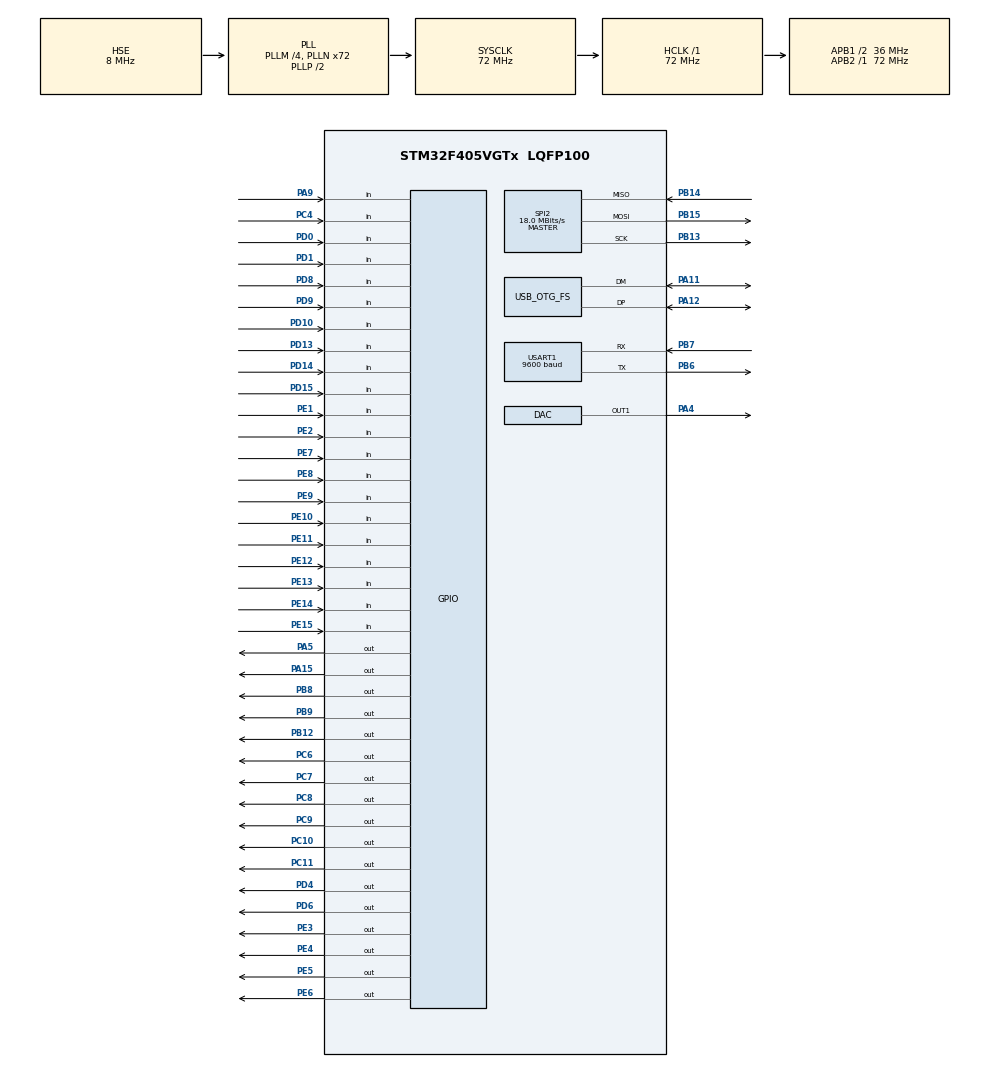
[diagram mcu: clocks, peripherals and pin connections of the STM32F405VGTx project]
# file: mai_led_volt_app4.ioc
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Mcu.Family=STM32F4
Mcu.Name=STM32F405VGTx
Mcu.Package=LQFP100
NVIC.OTG_FS_IRQn=true\:0\:0\:false\:false\:true\:true\:true\:true
NVIC.PriorityGroup=NVIC_PRIORITYGROUP_4
NVIC.TIM3_IRQn=true\:0\:0\:false\:false\:true\:true\:true\:true
NVIC.USART1_IRQn=true\:0\:0\:false\:false\:true\:true\:true\:true
PA11.Mode=Device_Only
PA11.Signal=USB_OTG_FS_DM
PA12.Mode=Device_Only
PA12.Signal=USB_OTG_FS_DP
PA15.Signal=GPIO_Output
PA4.Signal=COMP_DAC1_group
PA5.Signal=GPIO_Output
PA9.Signal=GPIO_Input
PB12.Signal=GPIO_Output
PB13.Mode=Full_Duplex_Master
PB13.Signal=SPI2_SCK
PB14.Mode=Full_Duplex_Master
PB14.Signal=SPI2_MISO
PB15.Mode=Full_Duplex_Master
PB15.Signal=SPI2_MOSI
PB6.Mode=Asynchronous
PB6.Signal=USART1_TX
PB7.Mode=Asynchronous
PB7.Signal=USART1_RX
PB8.Signal=GPIO_Output
PB9.Signal=GPIO_Output
PC10.Signal=GPIO_Output
PC11.Signal=GPIO_Output
PC4.Signal=GPIO_Input
PC6.Signal=GPIO_Output
PC7.Signal=GPIO_Output
PC8.Signal=GPIO_Output
PC9.Signal=GPIO_Output
PD0.Signal=GPIO_Input
PD1.Signal=GPIO_Input
PD10.Signal=GPIO_Input
PD11.Signal=FSMC_CLE
PD12.Signal=FSMC_ALE
PD13.Signal=GPIO_Input
PD14.Signal=GPIO_Input
PD15.Signal=GPIO_Input
PD4.Signal=GPIO_Output
PD6.Signal=GPIO_Output
PD8.Signal=GPIO_Input
PD9.Signal=GPIO_Input
PE1.Signal=GPIO_Input
PE10.Signal=GPIO_Input
PE11.Signal=GPIO_Input
PE12.Signal=GPIO_Input
PE13.Signal=GPIO_Input
PE14.Signal=GPIO_Input
PE15.Signal=GPIO_Input
PE2.Signal=GPIO_Input
PE3.Signal=GPIO_Output
PE4.Signal=GPIO_Output
PE5.Signal=GPIO_Output
PE6.Signal=GPIO_Output
PE7.Signal=GPIO_Input
PE8.Signal=GPIO_Input
PE9.Signal=GPIO_Input
PH0-OSC_IN.Mode=HSE-External-Oscillator
PH0-OSC_IN.Signal=RCC_OSC_IN
PH1-OSC_OUT.Mode=HSE-External-Oscillator
PH1-OSC_OUT.Signal=RCC_OSC_OUT
ProjectManager.HeapSize=0x200
ProjectManager.StackSize=0x400
ProjectManager.TargetToolchain=STM32CubeIDE
RCC.48MHZClocksFreq_Value=48000000
RCC.AHBFreq_Value=72000000
RCC.APB1CLKDivider=RCC_HCLK_DIV2
RCC.APB1Freq_Value=36000000
RCC.APB1TimFreq_Value=72000000
RCC.APB2Freq_Value=72000000
RCC.APB2TimFreq_Value=72000000
RCC.CortexFreq_Value=72000000
RCC.HCLKFreq_Value=72000000
RCC.HSE_VALUE=8000000
RCC.HSI_VALUE=16000000
RCC.LSE_VALUE=32768
RCC.PLLM=4
RCC.PLLN=72
RCC.PLLQ=3
RCC.SYSCLKFreq_VALUE=72000000
RCC.SYSCLKSource=RCC_SYSCLKSOURCE_PLLCLK
RCC.VCOOutputFreq_Value=144000000
SH.COMP_DAC1_group.0=DAC_OUT1,DAC_OUT1
SPI2.BaudRatePrescaler=SPI_BAUDRATEPRESCALER_2
SPI2.CalculateBaudRate=18.0 MBits/s
SPI2.Direction=SPI_DIRECTION_2LINES
SPI2.Mode=SPI_MODE_MASTER
SPI2.VirtualType=VM_MASTER
STMicroelectronics.X-CUBE-ALGOBUILD.1.4.0.LibraryCcDSPOoLibraryJjDSPOoLibrary=true
TIM3.AutoReloadPreload=TIM_AUTORELOAD_PRELOAD_ENABLE
TIM3.Prescaler=167
USART1.BaudRate=9600
USART1.VirtualMode=VM_ASYNC
USB_DEVICE.CLASS_NAME_FS=CDC
USB_DEVICE.VirtualMode-CDC_FS=Cdc
USB_DEVICE.VirtualModeFS=Cdc_FS
USB_OTG_FS.VirtualMode=Device_Only
VP_STMicroelectronics.X-CUBE-ALGOBUILD_VS_DSPOoLibraryJjLibrary_1.4.0_1.4.0.Mode=DSPOoLibraryJjLibrary
VP_TIM3_VS_ClockSourceINT.Mode=Internal
VP_USB_DEVICE_VS_USB_DEVICE_CDC_FS.Mode=CDC_FS
board=custom

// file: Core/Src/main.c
/* USER CODE BEGIN Header */
/**
  */
/* USER CODE END Header */
#include "main.h"
#include "usb_device.h"

/* USER CODE BEGIN Includes */
#include <string.h>
#include <stdio.h>
#include <stdbool.h>
#include "usbd_cdc_if.h"
#include "arm_math.h"
#include <stdlib.h>
#include "sx126x.h"
#include "sx126x_hal.h"
#include "thickness_calculator.h"
#include "temperature_sensor.h"
#include "stm32f4xx_hal.h"
#include <pin_fsmc5.h>  // Файл с конфигурацией ПЛИС (массив uint8_t fpga_config[])
/* USER CODE END Includes */

/* USER CODE BEGIN PD */
#define START_PULSE_DURATION_NS 200   // Длительность стартового импульса в наносекундах
#define USB_RX_BUFFER_SIZE 1100
#define UART_RX_TIMEOUT_MS 100

// LoRa module pins
#define sx1262_busy_pin GPIO_PIN_4
#define sx1262_busy_port GPIOC
#define sx1262_dio1_pin GPIO_PIN_2
#define sx1262_dio1_port GPIOE
#define sx1262_dio2_pin GPIO_PIN_1
#define sx1262_dio2_port GPIOE
#define sx1262_cs_pin GPIO_PIN_12
#define sx1262_cs_port GPIOB
#define sx1262_txen_pin GPIO_PIN_6
#define sx1262_txen_port GPIOC
#define sx1262_reset_pin GPIO_PIN_7
#define sx1262_reset_port GPIOC
#define USB_CONNECTED() HAL_GPIO_ReadPin(GPIOA, GPIO_PIN_9)

// Добавить новые определения
#define ACK_STRING           "ACK\r\n"
#define COMPLETE_STRING      "COMPLETE\r\n"

#define VALUES_PER_LINE 10            // Количество значений в строке вывода
/* USER CODE END PD */

DAC_HandleTypeDef hdac;

SPI_HandleTypeDef hspi2;

TIM_HandleTypeDef htim3;

UART_HandleTypeDef huart1;

/* USER CODE BEGIN PV */
char usb_msg[1024];                   // Буфер для USB сообщений

// Добавляем объявления переменных из usbd_cdc_if.c
extern volatile uint8_t usb_rx_buffer[USB_RX_BUFFER_SIZE];
extern volatile uint8_t new_data_received;
extern volatile uint16_t usb_rx_index;

// Временные переменные (НЕ сохраняются во Flash)
char start_date[20] = {0}; // Формат: "2024-01-15 14:30:25"
uint32_t period = 0;
float old_gain[4] = {0}; // Теперь для каждого набора параметров

// UART переменные
#define UART_TX_BUF_SIZE 128
char uart_tx_buf[UART_TX_BUF_SIZE];

#define UART_RX_BUF_SIZE 128
char uart_rx_buf[UART_RX_BUF_SIZE];
uint8_t uart_rx_pos = 0;
volatile uint8_t uart_cmd_ready = 0;
uint32_t uart_last_rx_time = 0;

volatile uint8_t uart_rx_data[UART_RX_BUF_SIZE];
volatile uint8_t uart_rx_len = 0;
volatile uint8_t uart_message_received = 0;

// LoRa variables
sx126x_context radio;
sx126x_mod_params_lora_t lora_params;
sx126x_pkt_params_lora_t pkt_params;
sx126x_pa_cfg_params_t pa_params;
int8_t pa_power = 10;
uint32_t frequency = 868000000U;
bool lora_initialized = false;
uint32_t lora_last_send_time = 0;  // Добавьте эту переменную
// Переменные для данных от дежурного МК
float received_voltage = 0.0f;
float received_temp = 0.0f;

float dac_voltage = 0.0f;
uint32_t dac_last_update = 0;
typedef struct {
    bool data_ready;                  // Флаг готовности данных
    uint8_t data_count;               // Количество считанных данных
} FPGA_Data;

FPGA_Data fpga_data;                 // Структура для хранения данных ПЛИС

//uint16_t temp_fpga_buffer[DATA_SIZE];     // Временный буфер для чтения
//float averaged_fpga_data[DATA_SIZE];   // Итоговый усредненный массив
bool averaging_complete = false;          // Флаг завершения усреднения

uint16_t* temp_fpga_buffer = NULL; // Временный буфер для чтения
float32_t* averaged_fpga_data = NULL; // Итоговый усредненный массив
uint32_t DATA_SIZE = 0;

// Переменные для хранения результатов расчета толщины для каждого набора
float thickness_values[4] = {0};

bool active_channels[4] = {false}; // Флаги активных каналов
/* USER CODE END PV */

void SystemClock_Config(void);
static void MX_GPIO_Init(void);
static void MX_USART1_UART_Init(void);
static void MX_DAC_Init(void);
static void MX_TIM3_Init(void);
static void MX_SPI2_Init(void);
/* USER CODE BEGIN PFP */
void SendUSBDebugMessage(const char *message);
void GenerateStartPulse(void);
void ProcessUSBCommand(uint8_t cmd);
void ParseParameters(const char* params_str);
void SendParametersResponse(void);
void SendDateTimeToBackupMCU(void);
void ProcessUARTCommand(uint8_t* data, uint8_t len);
bool InitializeLoRa(void);
void SendTestDataViaLoRa(void);
// Добавить прототип
void SendUARTResponse(const char* response);
void ReadFPGAData(int param_index);
void PrintDataToUSB(int param_index);
void SendMeasurementDataViaLoRa(int param_index);
/* USER CODE END PFP */

/* USER CODE BEGIN 0 */

/**
  * @brief Отправка отладочного сообщения через USB
  * @param message Текст сообщения
  */
void SendUSBDebugMessage(const char *message) {
    if (USB_CONNECTED()) {
        snprintf(usb_msg, sizeof(usb_msg), "[%lu] %s\r\n", HAL_GetTick(), message);
        CDC_Transmit_FS((uint8_t*)usb_msg, strlen(usb_msg));
        HAL_Delay(10); // Задержка для стабильной работы USB
    }
}

/**
  * @brief Генерация стартового импульса для ПЛИС
  * @note Импульс длительностью 200 нс на пине PD6
  */
void GenerateStartPulse(void) {
    // Устанавливаем высокий уровень на PD6
    HAL_GPIO_WritePin(GPIOD, GPIO_PIN_6, GPIO_PIN_SET);

    // Задержка для формирования импульса 200 нс
    for(volatile int i = 0; i < 34; i++);

    // Устанавливаем низкий уровень на PD6
    HAL_GPIO_WritePin(GPIOD, GPIO_PIN_6, GPIO_PIN_RESET);

}

/**
  * @brief Обработка команд от USB - не использовать!
  * @param cmd Полученная команда
  */
void ProcessUSBCommand(uint8_t cmd) {
    switch(cmd) {
        case '1':
            // Команда 1
              // SendUSBDebugMessage("Unknown command received 1");
            break;

        default:
            // Неизвестная команда
          //  SendUSBDebugMessage("Unknown command received");
            break;
    }
}

/**
  * @brief Парсинг AL секции (start_date и period)
  */
void ParseALSection(char* al_str) {
    char* token = strtok(al_str, "|");
    while (token != NULL) {
        char* equals_sign = strchr(token, '=');
        if (equals_sign != NULL) {
            *equals_sign = '\0';
            char* param_name = token;
            char* param_value = equals_sign + 1;

            if (strcmp(param_name, "start_date") == 0) {
                strncpy(start_date, param_value, sizeof(start_date) - 1);
                start_date[sizeof(start_date) - 1] = '\0';
            } else if (strcmp(param_name, "period") == 0) {
                period = atoi(param_value);
            }
        }
        token = strtok(NULL, "|");
    }
}

/**
  * @brief Парсинг PR секции для конкретного набора параметров
  */
void ParsePRSection(char* pr_str, int pr_index) {
    char* token = strtok(pr_str, "|");
    while (token != NULL) {
        char* equals_sign = strchr(token, '=');
        if (equals_sign != NULL) {
            *equals_sign = '\0';
            char* param_name = token;
            char* param_value = equals_sign + 1;

            // Парсим параметры для текущего набора
            if (strcmp(param_name, "wave_speed") == 0) {
                params[pr_index].wave_speed = atof(param_value);
            } else if (strcmp(param_name, "threshold") == 0) {
                params[pr_index].threshold = atof(param_value);
            } else if (strcmp(param_name, "threshold_zero_crossing") == 0) {
                params[pr_index].threshold_zero_crossing = atof(param_value);
            } else if (strcmp(param_name, "start_index") == 0) {
                params[pr_index].start_index = atoi(param_value);
            } else if (strcmp(param_name, "probe_length") == 0) {
                params[pr_index].probe_length = atoi(param_value);
            } else if (strcmp(param_name, "strobe_left1") == 0) {
                params[pr_index].first_left_strobe = atoi(param_value);
            } else if (strcmp(param_name, "strobe_right1") == 0) {
                params[pr_index].first_right_strobe = atoi(param_value);
            } else if (strcmp(param_name, "strobe_left2") == 0) {
                params[pr_index].second_left_strobe = atoi(param_value);
            } else if (strcmp(param_name, "strobe_right2") == 0) {
                params[pr_index].second_right_strobe = atoi(param_value);
            } else if (strcmp(param_name, "method") == 0) {
                params[pr_index].method = atoi(param_value);
            } else if (strcmp(param_name, "end_index") == 0) {
                params[pr_index].end_index = atoi(param_value);
            } else if (strcmp(param_name, "cycle_number") == 0) {
                params[pr_index].cycle_number = atoi(param_value);
            } else if (strcmp(param_name, "sensor_number") == 0) {
                strncpy(params[pr_index].sensor_number, param_value,
                       sizeof(params[pr_index].sensor_number) - 1);
                params[pr_index].sensor_number[sizeof(params[pr_index].sensor_number) - 1] = '\0';
            } else if (strcmp(param_name, "gain") == 0) {
                params[pr_index].gain = atof(param_value);
            } else if (strcmp(param_name, "points_count") == 0) {
                params[pr_index].points_count = atoi(param_value);
            }
        }
        token = strtok(NULL, "|");
    }
}

/**
  * @brief Парсинг параметров из строки с определением активных каналов
  * @param params_str Строка с параметрами
  */
void ParseParameters(const char* params_str) {
    char buffer[USB_RX_BUFFER_SIZE];
    strncpy(buffer, params_str, sizeof(buffer) - 1);
    buffer[sizeof(buffer) - 1] = '\0';

    // Сбрасываем флаги активных каналов
    for (int i = 0; i < 4; i++) {
        active_channels[i] = false;
    }

    // Загружаем текущие параметры (если еще не инициализированы)
    for (int i = 0; i < 4; i++) {
        if (!parameters_initialized[i]) {
            LoadParametersFromFlash();
            break;
        }
    }

    // Сохраняем старый gain ДО парсинга для всех наборов
//    for (int i = 0; i < 4; i++) {
//        old_gain[i] = params[i].gain;
//    }

    // Разбиваем всю строку на секции по '/'
    char* sections[20]; // Максимум 20 секций
    int section_count = 0;

    char* token = strtok(buffer, "/");
    while (token != NULL && section_count < 20) {
        sections[section_count++] = token;
        token = strtok(NULL, "/");
    }

    // Обрабатываем каждую секцию
    for (int i = 0; i < section_count; i++) {
        if (strncmp(sections[i], "AL=", 3) == 0) {
            // Обрабатываем AL= секцию
            ParseALSection(sections[i] + 3); // +3 чтобы пропустить "AL="
        }
        else if (strncmp(sections[i], "PR1=", 4) == 0) {
            // Обрабатываем PR1= секцию
            ParsePRSection(sections[i] + 4, 0); // +4 чтобы пропустить "PR1=", индекс 0
            active_channels[0] = true; // Помечаем канал как активный
        }
        else if (strncmp(sections[i], "PR2=", 4) == 0) {
            // Обрабатываем PR2= секцию
            ParsePRSection(sections[i] + 4, 1); // +4 чтобы пропустить "PR2=", индекс 1
            active_channels[1] = true; // Помечаем канал как активный
        }
        else if (strncmp(sections[i], "PR3=", 4) == 0) {
            // Обрабатываем PR3= секцию
            ParsePRSection(sections[i] + 4, 2); // +4 чтобы пропустить "PR3=", индекс 2
            active_channels[2] = true; // Помечаем канал как активный
        }
        else if (strncmp(sections[i], "PR4=", 4) == 0) {
            // Обрабатываем PR4= секцию
            ParsePRSection(sections[i] + 4, 3); // +4 чтобы пропустить "PR4=", индекс 3
            active_channels[3] = true; // Помечаем канал как активный
        }
    }

    // Сохраняем обновленные параметры в Flash (без start_date и period)
    SaveParametersToFlash();
    HAL_Delay(1000);
    // ОТПРАВЛЯЕМ ДАННЫЕ НА ДЕЖУРНЫЙ МК ПО UART
    SendDateTimeToBackupMCU();

    // Устанавливаем флаг для запуска расчета
    calculate_thickness_requested = true;
}

/**
  * @brief Отправка текущих параметров обратно в приложение
  */
/**
  * @brief Отправка текущих параметров обратно в приложение
  */
void SendParametersResponse(void) {
    // Отправляем параметры только для активных каналов
    for (int i = 0; i < 4; i++) {
        if (!active_channels[i] || !parameters_initialized[i]) {
            continue;
        }

        uint8_t usb_status = USB_CONNECTED();
        snprintf(usb_msg, sizeof(usb_msg),
            "PR%d:method=%lu|wave_speed=%.1f|threshold=%.1f|threshold_zero_crossing=%.1f|"
            "start_index=%lu|probe_length=%lu|strobe_left1=%lu|strobe_right1=%lu|"
            "strobe_left2=%lu|strobe_right2=%lu|end_index=%lu|cycle_number=%lu|"
            "sensor_number=%s|gain=%.1f|points_count=%lu|start_date=%s|period=%lu;USB:%u\r\n",
            i+1, params[i].method, params[i].wave_speed, params[i].threshold, params[i].threshold_zero_crossing,
            params[i].start_index, params[i].probe_length, params[i].first_left_strobe, params[i].first_right_strobe,
            params[i].second_left_strobe, params[i].second_right_strobe, params[i].end_index, params[i].cycle_number,
            params[i].sensor_number, params[i].gain, params[i].points_count, start_date, period, usb_status);

        CDC_Transmit_FS((uint8_t*)usb_msg, strlen(usb_msg));
        HAL_Delay(10);
    }
}
/**
  * @brief Отправка даты/времени и периода на дежурный МК по UART
  */
// Функция отправки данных
void SendDateTimeToBackupMCU(void) {
    // Проверяем что данные не пустые
    if (strlen(start_date) > 0 && period > 0) {
        // Получаем статус USB подключения
        uint8_t usb_status = USB_CONNECTED();

        // Формируем сообщение в формате: "DATE:YYYY-MM-DD;TIME:HH:MM:SS;PERIOD:XXXXX;USB:X"
        snprintf(uart_tx_buf, UART_TX_BUF_SIZE,
                 "DATE:%.10s;TIME:%.8s;PERIOD:%lu;USB:%u\r\n",
                 start_date, start_date + 11, period, usb_status);

        // Отправляем по UART
        HAL_UART_Transmit(&huart1, (uint8_t*)uart_tx_buf, strlen(uart_tx_buf), 100);

        // Отладочное сообщение по USB
        snprintf(usb_msg, sizeof(usb_msg), "Sent to backup MCU: %s", uart_tx_buf);
       // SendUSBDebugMessage(usb_msg);
    } else {
       // SendUSBDebugMessage("No date/time data to send to backup MCU");
    }
}

/**
  * @brief Обработка команды от дежурного МК через UART
  * @param data Данные для обработки
  * @param len Длина данных
  */
void ProcessUARTCommand(uint8_t* data, uint8_t len) {
//    HAL_Delay(150);
//
//    // Загружаем конфигурацию ПЛИС
//    FPGA_LoadConfig();
//
//    // Уменьшаем дополнительную паузу
//    HAL_Delay(10);

    // Поиск всех параметров в данных
        char* date_ptr = strstr((char*)data, "DATE:");
        char* time_ptr = strstr((char*)data, ";TIME:");
        char* period_ptr = strstr((char*)data, ";PERIOD:");
        char* voltage_ptr = strstr((char*)data, ";VOLTAGE:");
        char* temp_ptr = strstr((char*)data, ";TEMP:");

        // Инициализация значений по умолчанию
        int year = 0, month = 0, day = 0, hour = 0, min = 0, sec = 0;
        uint32_t received_period = 0;
        received_voltage = 0.0f;
        received_temp = 0.0f;

        // Парсинг доступных параметров
        if(date_ptr) sscanf(date_ptr, "DATE:%d-%d-%d", &year, &month, &day);
        if(time_ptr) sscanf(time_ptr, ";TIME:%d:%d:%d", &hour, &min, &sec);
        if(period_ptr) sscanf(period_ptr, ";PERIOD:%lu", &received_period);
        if(voltage_ptr) sscanf(voltage_ptr, ";VOLTAGE:%f", &received_voltage);
        if(temp_ptr) sscanf(temp_ptr, ";TEMP:%f", &received_temp);

        // Формируем строку даты
        snprintf(start_date, sizeof(start_date), "%04d-%02d-%02d %02d:%02d:%02d",
                year, month, day, hour, min, sec);
        period = received_period;

        // ИЗМЕРЯЕМ ТЕМПЕРАТУРУ ТЕРМОПАРЫ
        thermocouple_temperature = Get_Thermocouple_Temperature();

        // ОТПРАВЛЯЕМ РАСШИРЕННЫЕ ДАННЫЕ ПО USB ДЛЯ ВСЕХ НАБОРОВ

        // ВЫПОЛНЯЕМ ОПЕРАЦИИ ТОЛЬКО ДЛЯ АКТИВНЫХ КАНАЛОВ
        for (int i = 0; i < 4; i++) {
            // Пропускаем канал если он не активен ИЛИ параметры не инициализированы
            if (!active_channels[i] || !parameters_initialized[i]) {
                continue;
            }

//            // Остальной код обработки для активного канала остается без изменений
            switch(i) {
                case 0: HAL_GPIO_WritePin(GPIOE, GPIO_PIN_5, GPIO_PIN_SET); break;
                case 1: HAL_GPIO_WritePin(GPIOE, GPIO_PIN_6, GPIO_PIN_SET); break;
                case 2: HAL_GPIO_WritePin(GPIOE, GPIO_PIN_3, GPIO_PIN_SET); break;
                case 3: HAL_GPIO_WritePin(GPIOE, GPIO_PIN_4, GPIO_PIN_SET); break;
            }

        // Устанавливаем DAC напряжение для текущего набора параметров
           Set_DAC_Voltage((uint32_t)params[i].gain);
            //Set_DAC_Voltage(1212);
        // Читаем данные ПЛИС с текущими параметрами

        ReadFPGAData(i);

        if (fpga_data.data_ready) {
            // СРАЗУ ВЫЧИСЛЯЕМ ТОЛЩИНУ ПО УСРЕДНЕННОМУ МАССИВУ
            if (parameters_initialized[i] && averaging_complete) {
                calculate_thickness_requested = true;

                uint32_t start_time = HAL_GetTick();
                while (calculate_thickness_requested && (HAL_GetTick() - start_time) < 10000) {
                    if (calculate_thickness_requested) {
                        calculate_thickness_requested = false;
                        ProcessDataByMethod(i); // Используем текущий набор параметров
                        thickness_values[i] = thickness_value; // Сохраняем результат
                    }
                    HAL_Delay(10);
                }
              }
          //PrintDataToUSB(i);

            free(temp_fpga_buffer);
            free(averaged_fpga_data);

            memset(&fpga_data, 0, sizeof(fpga_data));

            // Сброс флагов
            fpga_data.data_ready = false;
            averaging_complete = false;

        }

        if(thermocouple_error) {
            snprintf(usb_msg, sizeof(usb_msg),
                    "SET%d:%s|%lu|%.4f|%.2f|ERROR|%.3f|%.1f|%.1f|%.1f|%lu|%lu|%lu|%lu|%lu|%lu|%lu|%lu|%s|%.1f|%s|%lu\r\n",
                    i+1, start_date, period, received_voltage, received_temp, thickness_values[i],
                    params[i].wave_speed, params[i].threshold, params[i].threshold_zero_crossing,
                    params[i].start_index, params[i].probe_length, params[i].first_left_strobe,
                    params[i].first_right_strobe, params[i].second_left_strobe, params[i].second_right_strobe,
                    params[i].method, params[i].end_index, params[i].cycle_number, params[i].sensor_number,
                    params[i].gain, start_date, period);
        } else {
            snprintf(usb_msg, sizeof(usb_msg),
                    "SET%d:%s|%lu|%.4f|%.2f|%.2f|%.3f|%.1f|%.1f|%.1f|%lu|%lu|%lu|%lu|%lu|%lu|%lu|%lu|%s|%.1f|%s|%lu\r\n",
                    i+1, start_date, period, received_voltage, received_temp, thermocouple_temperature,
                    thickness_values[i], params[i].wave_speed, params[i].threshold, params[i].threshold_zero_crossing,
                    params[i].start_index, params[i].probe_length, params[i].first_left_strobe,
                    params[i].first_right_strobe, params[i].second_left_strobe, params[i].second_right_strobe,
                    params[i].method, params[i].end_index, params[i].cycle_number, params[i].sensor_number,
                    params[i].gain, start_date, period);
        }

        CDC_Transmit_FS((uint8_t*)usb_msg, strlen(usb_msg));
        HAL_Delay(10);

        // Выключение пина перед отправкой по LoRa
        switch(i) {
            case 0: HAL_GPIO_WritePin(GPIOE, GPIO_PIN_5, GPIO_PIN_RESET); break;
            case 1: HAL_GPIO_WritePin(GPIOE, GPIO_PIN_6, GPIO_PIN_RESET); break;
            case 2: HAL_GPIO_WritePin(GPIOE, GPIO_PIN_3, GPIO_PIN_RESET); break;
            case 3: HAL_GPIO_WritePin(GPIOE, GPIO_PIN_4, GPIO_PIN_RESET); break;
        }

        HAL_Delay(100);
        SendMeasurementDataViaLoRa(i);
        HAL_Delay(2000);
        SendTestDataViaLoRa();

    }

    // После завершения всех операций отправляем COMPLETE
    SendUARTResponse(COMPLETE_STRING);
}

/**
  * @brief Отправка данных измерений через LoRa для конкретного набора параметров
  */
bool InitializeLoRa(void) {
    // Initialize radio context
    radio.cs_port = sx1262_cs_port;
    radio.cs_pin = sx1262_cs_pin;
    radio.busy_port = sx1262_busy_port;
    radio.busy_pin = sx1262_busy_pin;
    radio.reset_port = sx1262_reset_port;
    radio.reset_pin = sx1262_reset_pin;
    radio.hspi = &hspi2;

    lora_params.sf = SX126X_LORA_SF10;
    lora_params.bw = SX126X_LORA_BW_125;
    lora_params.cr = SX126X_LORA_CR_4_7;
    lora_params.ldro = 0x00;

    pkt_params.preamble_len_in_symb = 12;
    pkt_params.header_type = SX126X_LORA_PKT_EXPLICIT;
    pkt_params.pld_len_in_bytes = 128;
    pkt_params.crc_is_on = 0x01;
    pkt_params.invert_iq_is_on = 0x00;

    pa_params.pa_duty_cycle = 0x04;
    pa_params.hp_max = 0x07;
    pa_params.device_sel = 0x00;
    pa_params.pa_lut = 0x01;

    pa_power = 20;
    frequency = 868000000U;

    sx126x_status_t status = sx126x_hal_reset(&radio);
    if (status != SX126X_STATUS_OK) {
        return false;
    }

    sx126x_hal_wakeup(&radio);
    HAL_Delay(10);

    sx126x_set_standby(&radio, SX126X_STANDBY_CFG_RC);
    HAL_Delay(10);

    sx126x_set_dio3_as_tcxo_ctrl(&radio, SX126X_TCXO_CTRL_2_4V, 5);
    HAL_Delay(10);

    sx126x_cal(&radio, 0xFF);
    HAL_Delay(10);

    sx126x_set_standby(&radio, SX126X_STANDBY_CFG_XOSC);
    HAL_Delay(10);

    sx126x_set_reg_mode(&radio, SX126X_REG_MODE_DCDC);
    HAL_Delay(10);

    sx126x_set_pkt_type(&radio, SX126X_PKT_TYPE_LORA);
    HAL_Delay(10);

    sx126x_set_lora_mod_params(&radio, &lora_params);
    HAL_Delay(10);

    sx126x_set_lora_pkt_params(&radio, &pkt_params);
    HAL_Delay(10);

    sx126x_set_lora_sync_word(&radio, 0x12);
    HAL_Delay(10);

    sx126x_set_rf_freq(&radio, frequency);
    HAL_Delay(10);

    sx126x_set_pa_cfg(&radio, &pa_params);
    HAL_Delay(10);

    sx126x_set_tx_params(&radio, pa_power, SX126X_RAMP_800_US);
    HAL_Delay(10);

    sx126x_set_buffer_base_address(&radio, 0x00, 0x00);
    HAL_Delay(10);

    sx126x_set_dio_irq_params(&radio,
            SX126X_IRQ_TX_DONE | SX126X_IRQ_RX_DONE,
            SX126X_IRQ_TX_DONE | SX126X_IRQ_RX_DONE,
            SX126X_IRQ_NONE,
            SX126X_IRQ_NONE);
    HAL_Delay(100);

    lora_initialized = true;
    return true;
}

void SendMeasurementDataViaLoRa(int param_index) {
    // Формируем данные для отправки
    uint8_t lora_data[128] = {0};
    uint8_t data_index = 0;

    // Добавляем period (4 байта) - временная переменная
    memcpy(&lora_data[data_index], &period, sizeof(uint32_t));
    data_index += sizeof(uint32_t);

    // Добавляем received_voltage (4 байта) - из ProcessUARTCommand
    float voltage = received_voltage;
    memcpy(&lora_data[data_index], &voltage, sizeof(float));
    data_index += sizeof(float);

    // Добавляем received_temp (4 байта) - из ProcessUARTCommand
    float temp = received_temp;
    memcpy(&lora_data[data_index], &temp, sizeof(float));
    data_index += sizeof(float);

    // Добавляем thermocouple_temperature (4 байта) - глобальная переменная
    memcpy(&lora_data[data_index], &thermocouple_temperature, sizeof(float));
    data_index += sizeof(float);

    // Добавляем thickness_value (4 байта) - расчетная переменная для текущего набора
    memcpy(&lora_data[data_index], &thickness_values[param_index], sizeof(float));
    data_index += sizeof(float);

    // Добавляем wave_speed (4 байта) - из параметров текущего набора
    float wave_speed = params[param_index].wave_speed;
    memcpy(&lora_data[data_index], &wave_speed, sizeof(float));
    data_index += sizeof(float);

    // Добавляем threshold (4 байта) - из параметров текущего набора
    float threshold = params[param_index].threshold;
    memcpy(&lora_data[data_index], &threshold, sizeof(float));
    data_index += sizeof(float);

    // Добавляем threshold_zero_crossing (4 байта) - из параметров текущего набора
    float threshold_zero = params[param_index].threshold_zero_crossing;
    memcpy(&lora_data[data_index], &threshold_zero, sizeof(float));
    data_index += sizeof(float);

    // Добавляем start_index (4 байта) - из параметров текущего набора
    uint32_t start_idx = params[param_index].start_index;
    memcpy(&lora_data[data_index], &start_idx, sizeof(uint32_t));
    data_index += sizeof(uint32_t);

    // Добавляем probe_length (4 байта) - из параметров текущего набора
    uint32_t probe_len = params[param_index].probe_length;
    memcpy(&lora_data[data_index], &probe_len, sizeof(uint32_t));
    data_index += sizeof(uint32_t);

    // Добавляем first_left_strobe (4 байта) - из параметров текущего набора
    uint32_t strobe_l1 = params[param_index].first_left_strobe;
    memcpy(&lora_data[data_index], &strobe_l1, sizeof(uint32_t));
    data_index += sizeof(uint32_t);

    // Добавляем first_right_strobe (4 байта) - из параметров текущего набора
    uint32_t strobe_r1 = params[param_index].first_right_strobe;
    memcpy(&lora_data[data_index], &strobe_r1, sizeof(uint32_t));
    data_index += sizeof(uint32_t);

    // Добавляем second_left_strobe (4 байта) - из параметров текущего набора
    uint32_t strobe_l2 = params[param_index].second_left_strobe;
    memcpy(&lora_data[data_index], &strobe_l2, sizeof(uint32_t));
    data_index += sizeof(uint32_t);

    // Добавляем second_right_strobe (4 байта) - из параметров текущего набора
    uint32_t strobe_r2 = params[param_index].second_right_strobe;
    memcpy(&lora_data[data_index], &strobe_r2, sizeof(uint32_t));
    data_index += sizeof(uint32_t);

    // Добавляем method (4 байта) - из параметров текущего набора
    uint32_t method = params[param_index].method;
    memcpy(&lora_data[data_index], &method, sizeof(uint32_t));
    data_index += sizeof(uint32_t);

    // Добавляем end_index (4 байта) - из параметров текущего набора
    uint32_t end_idx = params[param_index].end_index;
    memcpy(&lora_data[data_index], &end_idx, sizeof(uint32_t));
    data_index += sizeof(uint32_t);

    // Добавляем cycle_number (4 байта) - из параметров текущего набора
    uint32_t cycle_num = params[param_index].cycle_number;
    memcpy(&lora_data[data_index], &cycle_num, sizeof(uint32_t));
    data_index += sizeof(uint32_t);

    // Добавляем sensor_number (максимум 16 байт) - из параметров текущего набора
    uint8_t sensor_len = strlen(params[param_index].sensor_number);
    if (sensor_len > 15) sensor_len = 15;
    lora_data[data_index++] = sensor_len;
    memcpy(&lora_data[data_index], params[param_index].sensor_number, sensor_len);
    data_index += sensor_len;

    // Добавляем gain (4 байта) - из параметров текущего набора
    float gain = params[param_index].gain;
    memcpy(&lora_data[data_index], &gain, sizeof(float));
    data_index += sizeof(float);

    // Общая длина данных
    uint8_t total_length = data_index;

    // Настройка параметров передачи LoRa
    sx126x_set_tx_params(&radio, pa_power, SX126X_RAMP_800_US);

    // Ожидаем, пока модуль освободится
    while (HAL_GPIO_ReadPin(sx1262_busy_port, sx1262_busy_pin) == GPIO_PIN_SET) {
        HAL_Delay(1);
    }

    // Записываем данные в буфер модуля LoRa
    sx126x_status_t status = sx126x_write_buffer(&radio, 0, lora_data, total_length);
    if (status != SX126X_STATUS_OK) {
        return;
    }

    // Обновляем параметры пакета с актуальной длиной
    pkt_params.pld_len_in_bytes = total_length;
    status = sx126x_set_lora_pkt_params(&radio, &pkt_params);
    if (status != SX126X_STATUS_OK) {
        return;
    }

    // Запускаем передачу
    status = sx126x_set_tx(&radio, SX126X_MAX_TIMEOUT_IN_MS);
    if (status != SX126X_STATUS_OK) {
        // Ошибка передачи
    } else {
        snprintf(usb_msg, sizeof(usb_msg), "LoRa measurement data sent for params[%d] (%d bytes)", param_index, total_length);
        SendUSBDebugMessage(usb_msg);
    }
}

void HAL_UART_RxCpltCallback(UART_HandleTypeDef *huart)
{
    if(huart->Instance == USART1) {
        uart_last_rx_time = HAL_GetTick();

        if(uart_rx_buf[uart_rx_pos] == '\n' || uart_rx_pos >= UART_RX_BUF_SIZE-1) {
            // Копируем данные в буфер для обработки
            memcpy((void*)uart_rx_data, uart_rx_buf, uart_rx_pos);
            uart_rx_len = uart_rx_pos;
            uart_message_received = 1;

            uart_rx_pos = 0;
            memset(uart_rx_buf, 0, sizeof(uart_rx_buf));

            // Немедленно запускаем прием следующего байта
            HAL_UART_Receive_IT(&huart1, (uint8_t*)uart_rx_buf, 1);
        } else {
            uart_rx_pos++;
            HAL_UART_Receive_IT(&huart1, (uint8_t*)&uart_rx_buf[uart_rx_pos], 1);
        }
    }
}

/**
  * @brief Инициализация модуля LoRa
  */
/**
  * @brief Отправка данных через LoRa
  */
void SendTestDataViaLoRa(void) {
    if (!lora_initialized) {
        if (!InitializeLoRa()) {
            return;
        }
    }

    // Создаем тестовые данные
    const uint8_t test_data[] = {1};

    sx126x_set_tx_params(&radio, pa_power, SX126X_RAMP_800_US);

    // Wait while module is busy
    while (HAL_GPIO_ReadPin(sx1262_busy_port, sx1262_busy_pin) == GPIO_PIN_SET);

    // Write data to buffer
    sx126x_status_t status = sx126x_write_buffer(&radio, 0, test_data, sizeof(test_data));
    if (status != SX126X_STATUS_OK) {
        return;
    }

    // Start transmission
    status = sx126x_set_tx(&radio, SX126X_MAX_TIMEOUT_IN_MS);
    if (status != SX126X_STATUS_OK) {
        // Ошибка передачи
    } else {
        // Успешная передача
    }
}

/**
  * @brief Отправка ответа по UART
  */
void SendUARTResponse(const char* response)
{
    HAL_UART_Transmit(&huart1, (uint8_t*)response, strlen(response), 100);
    HAL_Delay(10);
}

/**
 * @brief Многократное чтение и усреднение данных из ПЛИС с проверкой порога для конкретного набора параметров
 */
void ReadFPGAData(int param_index) {

	DATA_SIZE = (params[param_index].end_index - params[param_index].points_count);

	temp_fpga_buffer = (uint16_t*)malloc(DATA_SIZE * sizeof(uint16_t));
	averaged_fpga_data = (float32_t*)malloc((DATA_SIZE) * sizeof(float32_t));

    memset(temp_fpga_buffer, 0, DATA_SIZE * sizeof(uint16_t));
    memset(averaged_fpga_data, 0, DATA_SIZE * sizeof(float32_t));
    //HAL_GPIO_WritePin(GPIOA, GPIO_PIN_5, GPIO_PIN_SET);
    averaging_complete = false;
    uint32_t count_plis  = 0;
    // Получаем количество циклов из параметров текущего набора
    uint32_t cycles = params[param_index].cycle_number;
    float threshold = params[param_index].threshold;

    if (cycles == 0) {
        cycles = 1;
    }

    uint32_t valid_cycles = 0;
    bool fl = false;
    uint16_t n_date = 0;
    bool threshold_exceeded = false;

    for (uint32_t cycle = 0; cycle < cycles; cycle++) {

    	HAL_Delay(50);
        // Генерируем START импульс для нового измерения
        GenerateStartPulse();
        threshold_exceeded = false;

        // Ждем, когда ПЛИС выставит бит 15 в 1 (данные готовы)
        fl = false;
        while(!fl) {
            if(HAL_GPIO_ReadPin(GPIOD, GPIO_PIN_10)) {  // PD10 = бит 15
                fl = true;
            }
        }

        __disable_irq();

                for (int i = 0; i < params[param_index].points_count; i++) {
                    HAL_GPIO_WritePin(GPIOD, GPIO_PIN_4, RESET);  // OE = 0
                    // Короткая задержка для чтения (без сохранения)
                    for(volatile int d = 0; d < 10; d++);
                    HAL_GPIO_WritePin(GPIOD, GPIO_PIN_4, SET);    // OE = 1
                    for(volatile int d = 0; d < 10; d++);
                }

        // Считываем DATA_SIZE точек и проверяем порог
        for (int i = 0; i < DATA_SIZE; i++) {
            HAL_GPIO_WritePin(GPIOD, GPIO_PIN_4, RESET);  // OE = 0

            // ЕСЛИ РАСКОММЕНТИРОВАТЬ, ТО ПОПАДЕМ В БЕСКОНЕЧНЫЙ ЦИКЛ
            // while(!fl) {
            //     if(HAL_GPIO_ReadPin(GPIOD, GPIO_PIN_9)) {  // PD9 = бит 14
            //         fl = true;
            //     }
            // }

            // Считываем данные (12 бит)
            n_date = 0;
            if(HAL_GPIO_ReadPin(GPIOD, GPIO_PIN_14)) n_date |= 0x0001;
            if(HAL_GPIO_ReadPin(GPIOD, GPIO_PIN_15)) n_date |= 0x0002;
            if(HAL_GPIO_ReadPin(GPIOD, GPIO_PIN_0))  n_date |= 0x0004;
            if(HAL_GPIO_ReadPin(GPIOD, GPIO_PIN_1))  n_date |= 0x0008;
            if(HAL_GPIO_ReadPin(GPIOE, GPIO_PIN_7))  n_date |= 0x0010;
            if(HAL_GPIO_ReadPin(GPIOE, GPIO_PIN_8))  n_date |= 0x0020;
            if(HAL_GPIO_ReadPin(GPIOE, GPIO_PIN_9))  n_date |= 0x0040;
            if(HAL_GPIO_ReadPin(GPIOE, GPIO_PIN_10)) n_date |= 0x0080;
            if(HAL_GPIO_ReadPin(GPIOE, GPIO_PIN_11)) n_date |= 0x0100;
            if(HAL_GPIO_ReadPin(GPIOE, GPIO_PIN_12)) n_date |= 0x0200;
            if(HAL_GPIO_ReadPin(GPIOE, GPIO_PIN_13)) n_date |= 0x0400;
            if(HAL_GPIO_ReadPin(GPIOE, GPIO_PIN_14)) n_date |= 0x0800;

            // Сохраняем сырые данные во временный буфер
            temp_fpga_buffer[i] = n_date & 0x0FFF;

            // Проверяем порог ТОЛЬКО для точек после индекса 400
            if (i > params[param_index].probe_length) {
                // Вычисляем абсолютное значение (с вычитанием 2047)
                float value = temp_fpga_buffer[i] - 2047.0;
                if (fabsf(value) > threshold) {
                    threshold_exceeded = true;
//                    // Завершаем чтение текущего слова
//                    HAL_GPIO_WritePin(GPIOD, GPIO_PIN_4, SET);  // OE = 1
//                    // НЕМЕДЛЕННО прерываем чтение этого цикла!
////                    for (int i = 0; i < DATA_SIZE; i++) { temp_fpga_buffer[i] = 0.0; }
//                    __enable_irq();
//                    break;
                }
           }

            // Завершаем чтение текущего слова
            HAL_GPIO_WritePin(GPIOD, GPIO_PIN_4, SET);  // OE = 1

            // Короткая задержка между словами
            for(volatile int d = 0; d < 10; d++);
        }
//        // Пропускаем оставшиеся точки (6000 - DATA_SIZE)
        if (params[param_index].end_index > 0) {
        count_plis  = PLIS_DATA_SIZE - params[param_index].end_index;
        for (int i = 0; i < count_plis; i++) {
            HAL_GPIO_WritePin(GPIOD, GPIO_PIN_4, RESET);  // OE = 0
            // Короткая задержка для чтения (без сохранения)
            for(volatile int d = 0; d < 10; d++);
            HAL_GPIO_WritePin(GPIOD, GPIO_PIN_4, SET);    // OE = 1
            for(volatile int d = 0; d < 10; d++);
        }}
        __enable_irq();

        // ЕСЛИ порог превышен - НЕМЕДЛЕННО переходим к следующему cycle
        // БЕЗ сохранения и усреднения!
        if (threshold_exceeded) {
            if (cycles == 1) {
                break;
            }
            else {
                // ОЧИЩАЕМ буфер перед следующим циклом
                for (int i = 0; i < DATA_SIZE; i++) {
                    temp_fpga_buffer[i] = 0;
                }
                continue;  // Пропускаем весь остальной код цикла
            }
        }

        // Только если порог НЕ превышен - усредняем данные
        valid_cycles++;
        for (int i = 0; i < DATA_SIZE; i++) {
            if (valid_cycles == 1) {
                // Для первого валидного цикла
                averaged_fpga_data[i] = (float)temp_fpga_buffer[i] - 2047.0;
            } else {
                // Для последующих валидных циклов
                averaged_fpga_data[i] = (averaged_fpga_data[i] + ((float)temp_fpga_buffer[i] - 2047.0)) / 2;
            }
        }

    }

    // Копируем усредненные данные в основную структуру только если есть валидные циклы
    if (valid_cycles > 0) {
       fpga_data.data_count = DATA_SIZE;
       fpga_data.data_ready = true;
       averaging_complete = true;
   } else {
       fpga_data.data_ready = false;
       averaging_complete = false;
   }

    // PrintDataToUSB(0);
}

/**
 * @brief Вывод усредненных данных через USB CDC для конкретного набора параметров
 */
/**
 * @brief Вывод усредненных данных через USB CDC для конкретного набора параметров
 */
void PrintDataToUSB(int param_index) {
   if (!fpga_data.data_ready) return;

   // Формируем заголовок с информацией об усреднении
   snprintf(usb_msg, sizeof(usb_msg), "Averaged FPGA Data for params[%d] [%lu cycles, 0-%d]:\r\n",
            param_index, params[param_index].cycle_number, DATA_SIZE-1);
   CDC_Transmit_FS((uint8_t*)usb_msg, strlen(usb_msg));
   HAL_Delay(10);

   // Формируем строки с данными
   char data_line[128] = "";
   for (int i = 0; i < DATA_SIZE; i++) {
       char val_str[12];
       snprintf(val_str, sizeof(val_str), "%6.1f ", averaged_fpga_data[i]);
       strncat(data_line, val_str, sizeof(data_line) - strlen(data_line) - 1);

       // Если строка заполнена или это последнее значение
       if ((i+1) % VALUES_PER_LINE == 0 || i == DATA_SIZE-1) {
           strncat(data_line, "\r\n", sizeof(data_line) - strlen(data_line) - 1);
           CDC_Transmit_FS((uint8_t*)data_line, strlen(data_line));
           HAL_Delay(10);
           data_line[0] = '\0';
       }
   }

//   memset(averaged_fpga_data, 0, DATA_SIZE * sizeof(float32_t));
//   memset(temp_fpga_buffer, 0, DATA_SIZE * sizeof(uint16_t));

}

/**
  * @brief Отправка конфигурации в ПЛИС
  */
void FPGA_LoadConfig(void) {
    GPIO_InitTypeDef GPIO_InitStruct = {0};

    // Настройка пинов
    GPIO_InitStruct.Pin = GPIO_PIN_8 | GPIO_PIN_9 | GPIO_PIN_10 | GPIO_PIN_11;
    GPIO_InitStruct.Mode = GPIO_MODE_OUTPUT_PP;
    GPIO_InitStruct.Pull = GPIO_NOPULL;
    GPIO_InitStruct.Speed = GPIO_SPEED_FREQ_VERY_HIGH;
    HAL_GPIO_Init(GPIOC, &GPIO_InitStruct);

    GPIO_InitStruct.Pin = GPIO_PIN_15;
    HAL_GPIO_Init(GPIOA, &GPIO_InitStruct);

    GPIO_InitStruct.Pin = GPIO_PIN_8;
    HAL_GPIO_Init(GPIOB, &GPIO_InitStruct);

    // Установка начальных состояний
    HAL_GPIO_WritePin(GPIOC, GPIO_PIN_8, GPIO_PIN_SET);
    HAL_GPIO_WritePin(GPIOC, GPIO_PIN_9, GPIO_PIN_SET);
    HAL_GPIO_WritePin(GPIOC, GPIO_PIN_10, GPIO_PIN_RESET);
    HAL_GPIO_WritePin(GPIOC, GPIO_PIN_11, GPIO_PIN_RESET);
    HAL_GPIO_WritePin(GPIOA, GPIO_PIN_15, GPIO_PIN_RESET);
    HAL_GPIO_WritePin(GPIOB, GPIO_PIN_8, GPIO_PIN_SET);

    HAL_Delay(100);

    // Сброс ПЛИС
    HAL_GPIO_WritePin(GPIOA, GPIO_PIN_15, GPIO_PIN_RESET);
    HAL_GPIO_WritePin(GPIOC, GPIO_PIN_9, GPIO_PIN_RESET);
    HAL_Delay(5);

    // Запуск конфигурации
    HAL_GPIO_WritePin(GPIOA, GPIO_PIN_15, GPIO_PIN_SET);
    HAL_Delay(3);

    // Передача данных конфигурации
    const uint8_t *config_data = fpga_config;
    uint32_t config_size = sizeof(fpga_config);

    GPIO_TypeDef* data_port = GPIOC;
    GPIO_TypeDef* clk_port = GPIOC;
    uint16_t data_pin = GPIO_PIN_11;
    uint16_t clk_pin = GPIO_PIN_10;

    for (uint32_t i = 0; i < config_size; i++) {
        uint8_t byte = config_data[i];

        // Передача каждого бита
        for (int bit = 0; bit < 8; bit++) {
            if (byte & (1 << bit)) {
                data_port->BSRR = data_pin;
            } else {
                data_port->BSRR = (uint32_t)data_pin << 16;
            }
            __NOP(); __NOP();
            clk_port->BSRR = clk_pin;
            __NOP();
            clk_port->BSRR = (uint32_t)clk_pin << 16;
        }
    }

    // Завершающие импульсы
    for (int i = 0; i < 12; i++) {
        clk_port->BSRR = clk_pin;
        __NOP(); __NOP();
        clk_port->BSRR = (uint32_t)clk_pin << 16;
        __NOP(); __NOP();
    }

    // Активация ПЛИС
    HAL_GPIO_WritePin(GPIOC, GPIO_PIN_9, GPIO_PIN_SET);
    HAL_Delay(3);

    // Финальные настройки
    HAL_GPIO_WritePin(GPIOC, GPIO_PIN_8, GPIO_PIN_RESET);
    HAL_GPIO_WritePin(GPIOB, GPIO_PIN_8, GPIO_PIN_RESET);

    HAL_Delay(5);
}

//void Set_DAC_Voltage(float voltage)
//{
//    uint16_t dac_value = (uint16_t)voltage;
//    HAL_DAC_SetValue(&hdac, DAC_CHANNEL_1, DAC_ALIGN_12B_R, dac_value);
//}
//
//void Set_DAC_Voltage(uint32_t gain) {
//    if (gain > 182) gain = 182;
//
//    uint32_t dac_value = (gain * 4095) / 182;
//
//    HAL_DAC_SetValue(&hdac, DAC_CHANNEL_1, DAC_ALIGN_12B_R, dac_value);
//    // HAL_DAC_Start(&hdac, DAC_CHANNEL_1); // УБЕРИТЕ ЭТУ СТРОКУ
//    dac_voltage = (gain / 182.0f) * 3.3f;
//}
//void Set_DAC_Voltage(float voltage) {
//    if (voltage < 0) voltage = 0;
//    if (voltage > 1) voltage = 1;
//
//    uint32_t dac_value = (voltage / 3.3f) * 4095;
//    HAL_DAC_SetValue(&hdac, DAC_CHANNEL_1, DAC_ALIGN_12B_R, dac_value);
//    HAL_DAC_Start(&hdac, DAC_CHANNEL_1);
//    dac_voltage = voltage;
//}

void Set_DAC_Voltage(uint32_t gain) {

    HAL_DAC_SetValue(&hdac, DAC_CHANNEL_1, DAC_ALIGN_12B_R, 4095-gain);
    HAL_DAC_Start(&hdac, DAC_CHANNEL_1);
}
/* USER CODE END 0 */

int main(void)
{

  /* MCU Configuration--------------------------------------------------------*/

  /* Reset of all peripherals, Initializes the Flash interface and the Systick. */
  HAL_Init();

  /* Configure the system clock */
  SystemClock_Config();

  /* USER CODE BEGIN SysInit */
    __HAL_RCC_GPIOA_CLK_ENABLE();
    __HAL_RCC_GPIOB_CLK_ENABLE();
    __HAL_RCC_GPIOC_CLK_ENABLE();
  /* USER CODE END SysInit */

  /* Initialize all configured peripherals */
  MX_GPIO_Init();
  MX_USART1_UART_Init();
  MX_USB_DEVICE_Init();
  MX_DAC_Init();
  MX_TIM3_Init();
  MX_SPI2_Init();
  /* USER CODE BEGIN 2 */

 	HAL_GPIO_WritePin(GPIOD, GPIO_PIN_4, SET);

    //Set_DAC_Voltage(1212);

    HAL_Delay(150);
    FPGA_LoadConfig();
    HAL_Delay(100);
    HAL_TIM_Base_Start(&htim3);
    srand(HAL_GetTick());

    HAL_UART_Receive_IT(&huart1, (uint8_t*)uart_rx_buf, 1);

    memset(&fpga_data, 0, sizeof(fpga_data));

    // Инициализация флагов активных каналов
    for (int i = 0; i < 4; i++) {
        active_channels[i] = false;
    }
    active_channels[0] = true;
    HAL_Delay(1000);
    LoadParametersFromFlash();
    HAL_Delay(1000);
    InitializeLoRa();
 HAL_DAC_Start(&hdac, DAC_CHANNEL_1);  // ← ДОБАВЬТЕ ЭТУ СТРОКУ

// HAL_GPIO_WritePin(GPIOA, GPIO_PIN_5, GPIO_PIN_SET);

//
//
//        HAL_GPIO_WritePin(GPIOE, GPIO_PIN_5, GPIO_PIN_SET);
//                HAL_GPIO_WritePin(GPIOE, GPIO_PIN_6, GPIO_PIN_SET);
//                 HAL_GPIO_WritePin(GPIOE, GPIO_PIN_3, GPIO_PIN_SET);
//                 HAL_GPIO_WritePin(GPIOE, GPIO_PIN_4, GPIO_PIN_SET);

  /* USER CODE END 2 */

  /* Infinite loop */
  /* USER CODE BEGIN WHILE */
    while (1) {

//    	HAL_GPIO_WritePin(GPIOD, GPIO_PIN_4, RESET);
//    	HAL_Delay(5000);
//    		HAL_GPIO_WritePin(GPIOD, GPIO_PIN_4, SET);
//    	HAL_Delay(5000);

        if (new_data_received) {
            uart_message_received = 0;

            // В обработчике USB данных:
            // В обработчике USB данных:
            if (strncmp((char*)usb_rx_buffer, "AL=", 3) == 0) {
                ParseParameters((char*)usb_rx_buffer);
                SendParametersResponse();
            }
            else if (strncmp((char*)usb_rx_buffer, "1", 1) == 0) {
                ProcessUSBCommand('1');
            }
            memset((void*)usb_rx_buffer, 0, USB_RX_BUFFER_SIZE);
            usb_rx_index = 0;
            new_data_received = 0;
        }

        // Обработка UART от дежурного МК
        if(uart_message_received) {
            uart_message_received = 0;
            ProcessUARTCommand((uint8_t*)uart_rx_data, uart_rx_len);

//            HAL_Delay(1000);
//            LoadParametersFromFlash();
//            HAL_Delay(1000);
//
//        	 // ОТПРАВКА ВСЕХ ПАРАМЕТРОВ ПО USB
//        	    char usb_msg[256];
//        	    for (uint8_t i = 0; i < NUM_PARAM_SETS; i++) {
//        	        if (parameters_initialized[i]) {
//        	            snprintf(usb_msg, sizeof(usb_msg),
//        	                "Params[%d]: sensor=%s, method=%d, speed=%.1f, start=%d, end=%d, "
//        	                "left1=%d, right1=%d, left2=%d, right2=%d, threshold=%.1f, "
//        	                "threshold_zc=%.1f, probe_len=%d, cycles=%d, gain=%.1f, points=%d, crc=0x%08lX\r\n",
//        	                i,
//        	                params[i].sensor_number,
//        	                params[i].method,
//        	                params[i].wave_speed,
//        	                params[i].start_index,
//        	                params[i].end_index,
//        	                params[i].first_left_strobe,
//        	                params[i].first_right_strobe,
//        	                params[i].second_left_strobe,
//        	                params[i].second_right_strobe,
//        	                params[i].threshold,
//        	                params[i].threshold_zero_crossing,
//        	                params[i].probe_length,
//        	                params[i].cycle_number,
//        	                params[i].gain,
//        	                params[i].points_count,
//        	                params[i].crc);
//
//        	            CDC_Transmit_FS((uint8_t*)usb_msg, strlen(usb_msg));
//        	            HAL_Delay(10);
//        	        }
//        	    }
        }

        // Таймаут UART приема
        if(uart_rx_pos > 0 && (HAL_GetTick() - uart_last_rx_time) > UART_RX_TIMEOUT_MS) {
            uart_rx_pos = 0;
            memset(uart_rx_buf, 0, sizeof(uart_rx_buf));
            HAL_UART_Receive_IT(&huart1, (uint8_t*)uart_rx_buf, 1);
        }

        HAL_Delay(10);
    }
    /* USER CODE END WHILE */

}

void SystemClock_Config(void)
{
  RCC_OscInitTypeDef RCC_OscInitStruct = {0};
  RCC_ClkInitTypeDef RCC_ClkInitStruct = {0};

  /** Configure the main internal regulator output voltage
  */
  __HAL_RCC_PWR_CLK_ENABLE();
  __HAL_PWR_VOLTAGESCALING_CONFIG(PWR_REGULATOR_VOLTAGE_SCALE1);

  /** Initializes the RCC Oscillators according to the specified parameters
  * in the RCC_OscInitTypeDef structure.
  */
  RCC_OscInitStruct.OscillatorType = RCC_OSCILLATORTYPE_HSE;
  RCC_OscInitStruct.HSEState = RCC_HSE_ON;
  RCC_OscInitStruct.PLL.PLLState = RCC_PLL_ON;
  RCC_OscInitStruct.PLL.PLLSource = RCC_PLLSOURCE_HSE;
  RCC_OscInitStruct.PLL.PLLM = 4;
  RCC_OscInitStruct.PLL.PLLN = 72;
  RCC_OscInitStruct.PLL.PLLP = RCC_PLLP_DIV2;
  RCC_OscInitStruct.PLL.PLLQ = 3;
  if (HAL_RCC_OscConfig(&RCC_OscInitStruct) != HAL_OK)
  {
    Error_Handler();
  }

  /** Initializes the CPU, AHB and APB buses clocks
  */
  RCC_ClkInitStruct.ClockType = RCC_CLOCKTYPE_HCLK|RCC_CLOCKTYPE_SYSCLK
                              |RCC_CLOCKTYPE_PCLK1|RCC_CLOCKTYPE_PCLK2;
  RCC_ClkInitStruct.SYSCLKSource = RCC_SYSCLKSOURCE_PLLCLK;
  RCC_ClkInitStruct.AHBCLKDivider = RCC_SYSCLK_DIV1;
  RCC_ClkInitStruct.APB1CLKDivider = RCC_HCLK_DIV2;
  RCC_ClkInitStruct.APB2CLKDivider = RCC_HCLK_DIV1;

  if (HAL_RCC_ClockConfig(&RCC_ClkInitStruct, FLASH_LATENCY_2) != HAL_OK)
  {
    Error_Handler();
  }
}

static void MX_DAC_Init(void)
{

  DAC_ChannelConfTypeDef sConfig = {0};

  /** DAC Initialization
  */
  hdac.Instance = DAC;
  if (HAL_DAC_Init(&hdac) != HAL_OK)
  {
    Error_Handler();
  }

  /** DAC channel OUT1 config
  */
  sConfig.DAC_Trigger = DAC_TRIGGER_NONE;
  sConfig.DAC_OutputBuffer = DAC_OUTPUTBUFFER_ENABLE;
  if (HAL_DAC_ConfigChannel(&hdac, &sConfig, DAC_CHANNEL_1) != HAL_OK)
  {
    Error_Handler();
  }

}

static void MX_SPI2_Init(void)
{

  /* SPI2 parameter configuration*/
  hspi2.Instance = SPI2;
  hspi2.Init.Mode = SPI_MODE_MASTER;
  hspi2.Init.Direction = SPI_DIRECTION_2LINES;
  hspi2.Init.DataSize = SPI_DATASIZE_8BIT;
  hspi2.Init.CLKPolarity = SPI_POLARITY_LOW;
  hspi2.Init.CLKPhase = SPI_PHASE_1EDGE;
  hspi2.Init.NSS = SPI_NSS_SOFT;
  hspi2.Init.BaudRatePrescaler = SPI_BAUDRATEPRESCALER_2;
  hspi2.Init.FirstBit = SPI_FIRSTBIT_MSB;
  hspi2.Init.TIMode = SPI_TIMODE_DISABLE;
  hspi2.Init.CRCCalculation = SPI_CRCCALCULATION_DISABLE;
  hspi2.Init.CRCPolynomial = 10;
  if (HAL_SPI_Init(&hspi2) != HAL_OK)
  {
    Error_Handler();
  }

}

static void MX_TIM3_Init(void)
{

  TIM_ClockConfigTypeDef sClockSourceConfig = {0};
  TIM_MasterConfigTypeDef sMasterConfig = {0};

  htim3.Instance = TIM3;
  htim3.Init.Prescaler = 167;
  htim3.Init.CounterMode = TIM_COUNTERMODE_UP;
  htim3.Init.Period = 65535;
  htim3.Init.ClockDivision = TIM_CLOCKDIVISION_DIV1;
  htim3.Init.AutoReloadPreload = TIM_AUTORELOAD_PRELOAD_ENABLE;
  if (HAL_TIM_Base_Init(&htim3) != HAL_OK)
  {
    Error_Handler();
  }
  sClockSourceConfig.ClockSource = TIM_CLOCKSOURCE_INTERNAL;
  if (HAL_TIM_ConfigClockSource(&htim3, &sClockSourceConfig) != HAL_OK)
  {
    Error_Handler();
  }
  sMasterConfig.MasterOutputTrigger = TIM_TRGO_RESET;
  sMasterConfig.MasterSlaveMode = TIM_MASTERSLAVEMODE_DISABLE;
  if (HAL_TIMEx_MasterConfigSynchronization(&htim3, &sMasterConfig) != HAL_OK)
  {
    Error_Handler();
  }

}

static void MX_USART1_UART_Init(void)
{

  huart1.Instance = USART1;
  huart1.Init.BaudRate = 9600;
  huart1.Init.WordLength = UART_WORDLENGTH_8B;
  huart1.Init.StopBits = UART_STOPBITS_1;
  huart1.Init.Parity = UART_PARITY_NONE;
  huart1.Init.Mode = UART_MODE_TX_RX;
  huart1.Init.HwFlowCtl = UART_HWCONTROL_NONE;
  huart1.Init.OverSampling = UART_OVERSAMPLING_16;
  if (HAL_UART_Init(&huart1) != HAL_OK)
  {
    Error_Handler();
  }

}

static void MX_GPIO_Init(void)
{
  GPIO_InitTypeDef GPIO_InitStruct = {0};

  /* GPIO Ports Clock Enable */
  __HAL_RCC_GPIOE_CLK_ENABLE();
  __HAL_RCC_GPIOH_CLK_ENABLE();
  __HAL_RCC_GPIOA_CLK_ENABLE();
  __HAL_RCC_GPIOC_CLK_ENABLE();
  __HAL_RCC_GPIOB_CLK_ENABLE();
  __HAL_RCC_GPIOD_CLK_ENABLE();

  /*Configure GPIO pin Output Level */
  HAL_GPIO_WritePin(GPIOE, GPIO_PIN_3|GPIO_PIN_4|GPIO_PIN_5|GPIO_PIN_6, GPIO_PIN_RESET);

  /*Configure GPIO pin Output Level */
  HAL_GPIO_WritePin(GPIOA, GPIO_PIN_5|GPIO_PIN_15, GPIO_PIN_RESET);

  /*Configure GPIO pin Output Level */
  HAL_GPIO_WritePin(GPIOB, GPIO_PIN_12|GPIO_PIN_8|GPIO_PIN_9, GPIO_PIN_RESET);

  /*Configure GPIO pin Output Level */
  HAL_GPIO_WritePin(GPIOC, GPIO_PIN_6|GPIO_PIN_7|GPIO_PIN_8|GPIO_PIN_9
                          |GPIO_PIN_10|GPIO_PIN_11, GPIO_PIN_RESET);

  /*Configure GPIO pin Output Level */
  HAL_GPIO_WritePin(GPIOD, GPIO_PIN_4|GPIO_PIN_6, GPIO_PIN_RESET);

  /*Configure GPIO pins : PE2 PE7 PE8 PE9
                           PE10 PE11 PE12 PE13
                           PE14 PE15 PE1 */
  GPIO_InitStruct.Pin = GPIO_PIN_2|GPIO_PIN_7|GPIO_PIN_8|GPIO_PIN_9
                          |GPIO_PIN_10|GPIO_PIN_11|GPIO_PIN_12|GPIO_PIN_13
                          |GPIO_PIN_14|GPIO_PIN_15|GPIO_PIN_1;
  GPIO_InitStruct.Mode = GPIO_MODE_INPUT;
  GPIO_InitStruct.Pull = GPIO_NOPULL;
  HAL_GPIO_Init(GPIOE, &GPIO_InitStruct);

  /*Configure GPIO pins : PE3 PE4 PE5 PE6 */
  GPIO_InitStruct.Pin = GPIO_PIN_3|GPIO_PIN_4|GPIO_PIN_5|GPIO_PIN_6;
  GPIO_InitStruct.Mode = GPIO_MODE_OUTPUT_PP;
  GPIO_InitStruct.Pull = GPIO_NOPULL;
  GPIO_InitStruct.Speed = GPIO_SPEED_FREQ_LOW;
  HAL_GPIO_Init(GPIOE, &GPIO_InitStruct);

  /*Configure GPIO pins : PA5 PA15 */
  GPIO_InitStruct.Pin = GPIO_PIN_5|GPIO_PIN_15;
  GPIO_InitStruct.Mode = GPIO_MODE_OUTPUT_PP;
  GPIO_InitStruct.Pull = GPIO_NOPULL;
  GPIO_InitStruct.Speed = GPIO_SPEED_FREQ_LOW;
  HAL_GPIO_Init(GPIOA, &GPIO_InitStruct);

  /*Configure GPIO pin : PC4 */
  GPIO_InitStruct.Pin = GPIO_PIN_4;
  GPIO_InitStruct.Mode = GPIO_MODE_INPUT;
  GPIO_InitStruct.Pull = GPIO_NOPULL;
  HAL_GPIO_Init(GPIOC, &GPIO_InitStruct);

  /*Configure GPIO pins : PB12 PB8 PB9 */
  GPIO_InitStruct.Pin = GPIO_PIN_12|GPIO_PIN_8|GPIO_PIN_9;
  GPIO_InitStruct.Mode = GPIO_MODE_OUTPUT_PP;
  GPIO_InitStruct.Pull = GPIO_NOPULL;
  GPIO_InitStruct.Speed = GPIO_SPEED_FREQ_LOW;
  HAL_GPIO_Init(GPIOB, &GPIO_InitStruct);

  /*Configure GPIO pins : PD8 PD9 PD10 PD13
                           PD14 PD15 PD0 PD1 */
  GPIO_InitStruct.Pin = GPIO_PIN_8|GPIO_PIN_9|GPIO_PIN_10|GPIO_PIN_13
                          |GPIO_PIN_14|GPIO_PIN_15|GPIO_PIN_0|GPIO_PIN_1;
  GPIO_InitStruct.Mode = GPIO_MODE_INPUT;
  GPIO_InitStruct.Pull = GPIO_NOPULL;
  HAL_GPIO_Init(GPIOD, &GPIO_InitStruct);

  /*Configure GPIO pins : PD11 PD12 */
  GPIO_InitStruct.Pin = GPIO_PIN_11|GPIO_PIN_12;
  GPIO_InitStruct.Mode = GPIO_MODE_AF_PP;
  GPIO_InitStruct.Pull = GPIO_NOPULL;
  GPIO_InitStruct.Speed = GPIO_SPEED_FREQ_VERY_HIGH;
  GPIO_InitStruct.Alternate = GPIO_AF12_FSMC;
  HAL_GPIO_Init(GPIOD, &GPIO_InitStruct);

  /*Configure GPIO pins : PC6 PC7 PC8 PC9
                           PC10 PC11 */
  GPIO_InitStruct.Pin = GPIO_PIN_6|GPIO_PIN_7|GPIO_PIN_8|GPIO_PIN_9
                          |GPIO_PIN_10|GPIO_PIN_11;
  GPIO_InitStruct.Mode = GPIO_MODE_OUTPUT_PP;
  GPIO_InitStruct.Pull = GPIO_NOPULL;
  GPIO_InitStruct.Speed = GPIO_SPEED_FREQ_LOW;
  HAL_GPIO_Init(GPIOC, &GPIO_InitStruct);

  /*Configure GPIO pin : PA9 */
  GPIO_InitStruct.Pin = GPIO_PIN_9;
  GPIO_InitStruct.Mode = GPIO_MODE_INPUT;
  GPIO_InitStruct.Pull = GPIO_NOPULL;
  HAL_GPIO_Init(GPIOA, &GPIO_InitStruct);

  /*Configure GPIO pins : PD4 PD6 */
  GPIO_InitStruct.Pin = GPIO_PIN_4|GPIO_PIN_6;
  GPIO_InitStruct.Mode = GPIO_MODE_OUTPUT_PP;
  GPIO_InitStruct.Pull = GPIO_NOPULL;
  GPIO_InitStruct.Speed = GPIO_SPEED_FREQ_LOW;
  HAL_GPIO_Init(GPIOD, &GPIO_InitStruct);

}

void Error_Handler(void)
{
  while (1)
  {
  }
}
